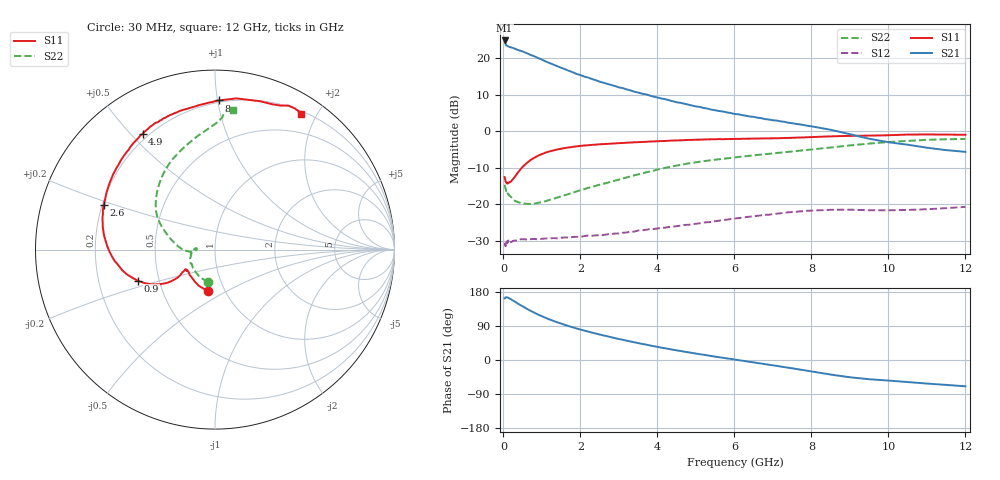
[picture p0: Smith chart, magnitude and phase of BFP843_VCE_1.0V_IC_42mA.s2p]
! Infineon Technologies  Discrete & RF Semiconductors
! BFP843
! VCE =  1.0 V,  IC =  42 mA
! Common Emitter S-Parameters:  Aug 2013
# GHz  S  MA  R  50
!  f  S11  S21  S12  S22
! GHz  MAG  ANG  MAG  ANG  MAG  ANG  MAG  ANG
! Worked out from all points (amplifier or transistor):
!   103 points, 30 MHz to 12 GHz, reference 50 ohm
!   highest |S21| = 24.9 dB at 30 MHz (marker M1)
!   |S21| within 3 dB of that: start of sweep to 494.7 MHz
!   unconditionally stable (mu >= 1): start of sweep to end of sweep
!   at 400 MHz: K = 1.33, MAG = 22.6 dB, |S12| = -29.9 dB
!   at 3.7 GHz: K = 1.74, MAG = 13.6 dB, |S12| = -27.0 dB
!   at 12 GHz: K = 1.26, MAG = 4.5 dB, |S12| = -20.7 dB
!   S11 on the Smith chart (normalised r, x): 30 MHz: 0.83, -0.41; 900 MHz: 0.38, -0.17; 2.6 GHz: 0.21, +0.18; 4.9 GHz: 0.18, +0.54; 8 GHz: 0.19, +1.01; 12 GHz: 0.24, +1.80
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0.03  0.2351 -99.5  17.55 162.8  0.0266 32.8  0.1852 -102.5
0.04  0.2208 -114.1  16.45 163.4  0.0266 23.0  0.1749 -119.5
0.05  0.2118 -121.5  15.9 165.1  0.0293 21.9  0.1646 -130.9
0.07  0.1992 -135.5  15.08 165.6  0.0288 13.9  0.1519 -147.9
0.1  0.192 -142.4  14.78 165.1  0.0292 14.1  0.1465 -160.5
0.35  0.2611 -143.1  13.13 150.4  0.0319 8.8  0.1084 175.4
0.5  0.325 -145.2  12.4 141.5  0.0331 6.0  0.1025 176.4
0.7  0.402 -151.2  11.15 129.9  0.0332 8.6  0.1006 178.1
0.9  0.4625 -157.9  10.08 119.9  0.033 7.8  0.1043 -179.5
1.1  0.5115 -164.5  9.027 111.0  0.0339 8.1  0.1103 -177.2
1.4  0.5632 -173.6  7.778 99.4  0.0341 10.7  0.1233 -175.5
1.7  0.6004 178.3  6.739 89.3  0.0348 12.2  0.1385 -175.5
2.1  0.6375 168.7  5.613 77.6  0.0366 14.4  0.1607 -177.4
2.6  0.6668 158.3  4.626 64.8  0.0378 16.7  0.1908 177.7
3.3  0.7003 145.3  3.631 48.8  0.042 18.0  0.2408 168.6
4.1  0.7331 132.2  2.813 32.7  0.0474 18.9  0.3057 158.7
4.9  0.7611 122.0  2.252 18.7  0.0531 18.7  0.3681 150.6
6.1  0.7854 110.6  1.707 -0.3  0.0644 14.8  0.4433 137.4
8  0.8312 88.4  1.168 -30.1  0.0817 0.4  0.5619 113.9
8.5  0.8508 82.0  1.047 -38.4  0.0838 -4.6  0.5987 106.3
10.5  0.9004 63.0  0.654 -58.2  0.0835 -16.0  0.7375 86.9
12  0.893 57.5  0.522 -69.4  0.0919 -23.0  0.7848 82.7
